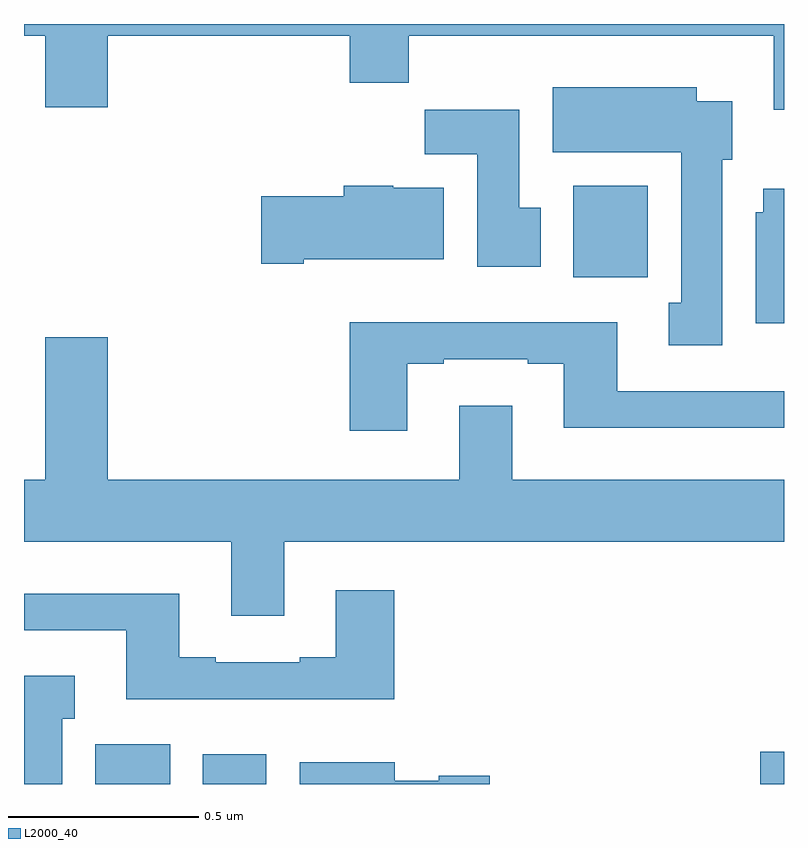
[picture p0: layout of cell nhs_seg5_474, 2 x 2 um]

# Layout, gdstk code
import gdstk
lib = gdstk.Library(unit=1e-6, precision=1e-09)
def R(c, l, rs):  # rectangles x0, y0, x1, y1
    for r in rs: c.add(gdstk.rectangle(r[:2], r[2:], *l))
def P(c, l, *ps):  # polygons
    for p in ps: c.add(gdstk.Polygon(p, *l))
L2000_40 = (2000, 40)

nhs_seg5_474 = lib.new_cell('nhs_seg5_474')
R(nhs_seg5_474, L2000_40, [(117.188,846.799,117.385,846.904), (117.47,846.799,117.637,846.877), (118.938,846.799,119,846.884), (118.445,848.132,118.642,848.374)])
P(nhs_seg5_474, L2000_40, [(119,848.799),(117,848.799),(117,848.768),(117.056,848.768),(117.056,848.58),(117.22,848.58),(117.22,848.768),(117.857,848.768),(117.857,848.644),(118.013,848.644),(118.013,848.768),(118.973,848.768),(118.973,848.574),(119,848.574)],
  [(118.837,848.442),(118.864,848.442),(118.864,848.596),(118.771,848.596),(118.771,848.632),(118.391,848.632),(118.391,848.462),(118.73,848.462),(118.73,848.066),(118.697,848.066),(118.697,847.953),(118.837,847.953)],
  [(118.36,848.316),(118.303,848.316),(118.303,848.574),(118.054,848.574),(118.054,848.456),(118.193,848.456),(118.193,848.16),(118.36,848.16)],
  [(117.736,848.18),(118.105,848.18),(118.105,848.368),(117.972,848.368),(117.972,848.374),(117.842,848.374),(117.842,848.346),(117.624,848.346),(117.624,848.168),(117.736,848.168)],
  [(119,848.365),(118.946,848.365),(118.946,848.304),(118.925,848.304),(118.925,848.012),(119,848.012)],
  [(118.009,847.905),(118.105,847.905),(118.105,847.917),(118.325,847.917),(118.325,847.905),(118.421,847.905),(118.421,847.736),(119,847.736),(119,847.833),(118.561,847.833),(118.561,848.014),(117.857,848.014),(117.857,847.728),(118.009,847.728)],
  [(117.685,847.436),(119,847.436),(119,847.6),(118.285,847.6),(118.285,847.795),(118.145,847.795),(118.145,847.6),(117.22,847.6),(117.22,847.975),(117.056,847.975),(117.056,847.6),(117,847.6),(117,847.436),(117.545,847.436),(117.545,847.242),(117.685,847.242)],
  [(117.974,847.309),(117.821,847.309),(117.821,847.132),(117.725,847.132),(117.725,847.119),(117.505,847.119),(117.505,847.132),(117.409,847.132),(117.409,847.3),(117,847.3),(117,847.203),(117.269,847.203),(117.269,847.022),(117.974,847.022)],
  [(117.1,846.971),(117.133,846.971),(117.133,847.084),(117,847.084),(117,846.799),(117.1,846.799)],
  [(118.225,846.821),(118.092,846.821),(118.092,846.808),(117.976,846.808),(117.976,846.856),(117.725,846.856),(117.725,846.799),(118.225,846.799)])

lib.write_gds('nhs_seg5_474.gds')
